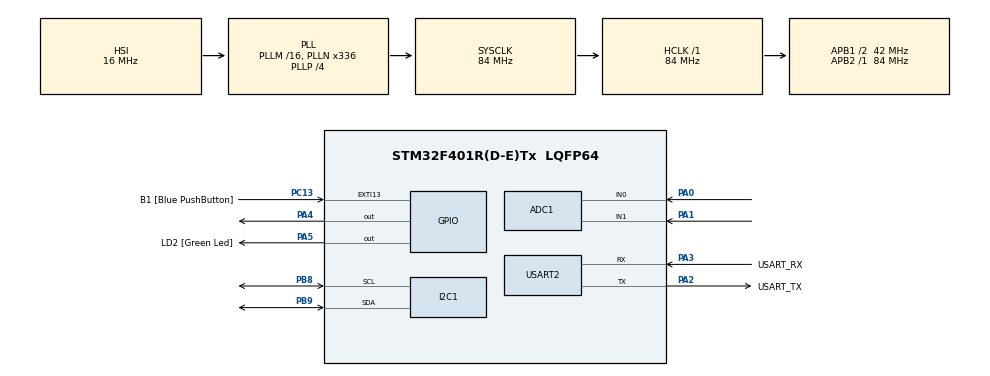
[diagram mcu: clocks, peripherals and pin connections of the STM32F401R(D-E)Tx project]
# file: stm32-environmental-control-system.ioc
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ADC1.Channel-0\#ChannelRegularConversion=ADC_CHANNEL_0
ADC1.NbrOfConversion=1
ADC1.NbrOfConversionFlag=1
ADC1.Rank-0\#ChannelRegularConversion=1
ADC1.SamplingTime-0\#ChannelRegularConversion=ADC_SAMPLETIME_3CYCLES
ADC1.ScanConvMode=DISABLE
ADC1.master=1
Mcu.Family=STM32F4
Mcu.Name=STM32F401R(D-E)Tx
Mcu.Package=LQFP64
NVIC.PriorityGroup=NVIC_PRIORITYGROUP_4
PA0-WKUP.Signal=ADCx_IN0
PA1.Signal=ADCx_IN1
PA13.GPIO_Label=TMS
PA13.Mode=Trace_Asynchronous_SW
PA13.Signal=SYS_JTMS-SWDIO
PA14.GPIO_Label=TCK
PA14.Mode=Trace_Asynchronous_SW
PA14.Signal=SYS_JTCK-SWCLK
PA2.GPIO_Label=USART_TX
PA2.GPIO_Mode=GPIO_MODE_AF_PP
PA2.GPIO_PuPd=GPIO_NOPULL
PA2.GPIO_Speed=GPIO_SPEED_FREQ_LOW
PA2.Mode=Asynchronous
PA2.Signal=USART2_TX
PA3.GPIO_Label=USART_RX
PA3.GPIO_Mode=GPIO_MODE_AF_PP
PA3.GPIO_PuPd=GPIO_NOPULL
PA3.GPIO_Speed=GPIO_SPEED_FREQ_LOW
PA3.Mode=Asynchronous
PA3.Signal=USART2_RX
PA4.Signal=GPIO_Output
PA5.GPIO_Label=LD2 [Green Led]
PA5.GPIO_Mode=GPIO_MODE_OUTPUT_PP
PA5.GPIO_PuPd=GPIO_NOPULL
PA5.GPIO_Speed=GPIO_SPEED_FREQ_LOW
PA5.Signal=GPIO_Output
PB3.GPIO_Label=SWO
PB3.Mode=Trace_Asynchronous_SW
PB3.Signal=SYS_JTDO-SWO
PB8.Mode=I2C
PB8.Signal=I2C1_SCL
PB9.Mode=I2C
PB9.Signal=I2C1_SDA
PC13-ANTI_TAMP.GPIO_Label=B1 [Blue PushButton]
PC13-ANTI_TAMP.GPIO_ModeDefaultEXTI=GPIO_MODE_IT_FALLING
PC13-ANTI_TAMP.GPIO_PuPd=GPIO_NOPULL
PC13-ANTI_TAMP.Signal=GPXTI13
PC14-OSC32_IN.Mode=LSE-External-Oscillator
PC14-OSC32_IN.Signal=RCC_OSC32_IN
PC15-OSC32_OUT.Mode=LSE-External-Oscillator
PC15-OSC32_OUT.Signal=RCC_OSC32_OUT
PH0\ -\ OSC_IN.Mode=HSE-External-Clock-Source
PH0\ -\ OSC_IN.Signal=RCC_OSC_IN
PH1\ -\ OSC_OUT.Mode=HSE-External-Clock-Source
PH1\ -\ OSC_OUT.Signal=RCC_OSC_OUT
ProjectManager.HeapSize=0x200
ProjectManager.StackSize=0x400
ProjectManager.TargetToolchain=STM32CubeIDE
RCC.48MHZClocksFreq_Value=48000000
RCC.AHBFreq_Value=84000000
RCC.APB1CLKDivider=RCC_HCLK_DIV2
RCC.APB1Freq_Value=42000000
RCC.APB1TimFreq_Value=84000000
RCC.APB2Freq_Value=84000000
RCC.APB2TimFreq_Value=84000000
RCC.CortexFreq_Value=84000000
RCC.HCLKFreq_Value=84000000
RCC.HSE_VALUE=8000000
RCC.HSI_VALUE=16000000
RCC.PLLN=336
RCC.PLLP=RCC_PLLP_DIV4
RCC.PLLQ=7
RCC.SYSCLKFreq_VALUE=84000000
RCC.SYSCLKSource=RCC_SYSCLKSOURCE_PLLCLK
RCC.VCOOutputFreq_Value=336000000
SH.ADCx_IN0.0=ADC1_IN0,IN0
SH.ADCx_IN1.0=ADC1_IN1,IN1
USART2.VirtualMode=VM_ASYNC
board=NUCLEO-F401RE

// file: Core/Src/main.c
/* USER CODE BEGIN Header */
/**
  ******************************************************************************
  * @file           : main.c
  * @brief          : Main program body
  ******************************************************************************
  * @attention
  *
  * Copyright (c) 2026 STMicroelectronics.
  * All rights reserved.
  *
  * This software is licensed under terms that can be found in the LICENSE file
  * in the root directory of this software component.
  * If no LICENSE file comes with this software, it is provided AS-IS.
  *
  ******************************************************************************
  */
/* USER CODE END Header */
#include "main.h"

/* USER CODE BEGIN Includes */
#include <stdio.h>
#include <string.h>
#include "ssd1306.h"
/* USER CODE END Includes */

ADC_HandleTypeDef hadc1;

I2C_HandleTypeDef hi2c1;

UART_HandleTypeDef huart2;

void SystemClock_Config(void);
static void MX_GPIO_Init(void);
static void MX_USART2_UART_Init(void);
static void MX_ADC1_Init(void);
static void MX_I2C1_Init(void);

int main(void)
{

  /* MCU Configuration--------------------------------------------------------*/

  /* Reset of all peripherals, Initializes the Flash interface and the Systick. */
  HAL_Init();

  /* Configure the system clock */
  SystemClock_Config();

  /* Initialize all configured peripherals */
  MX_GPIO_Init();
  MX_USART2_UART_Init();
  MX_ADC1_Init();
  MX_I2C1_Init();
  /* USER CODE BEGIN 2 */
  SSD1306_Init(&hi2c1);
  SSD1306_Clear();

  /* USER CODE END 2 */

  /* Infinite loop */
  /* USER CODE BEGIN WHILE */
  while (1)
  {
	  /* USER CODE BEGIN WHILE */
      uint32_t pot_raw;
      uint32_t temp_raw;
      uint32_t pot_sum = 0;
      uint32_t temp_sum = 0;

      float temp_voltage;
      float temperature_c;
      float setpoint_c;

      // rejects bad temp readings
      static float last_good_temp = 20.0f;
      float measured_temp;

      char msg[128];

      ADC_ChannelConfTypeDef sConfig = {0};
      /* =========================
         READ POTENTIOMETER - PA0
         ========================= */

      sConfig.Channel = ADC_CHANNEL_0;
      sConfig.Rank = 1;
      sConfig.SamplingTime = ADC_SAMPLETIME_84CYCLES;

      HAL_ADC_ConfigChannel(&hadc1, &sConfig);

      /* Throw away first conversion after switching channels */
      HAL_ADC_Start(&hadc1);
      HAL_ADC_PollForConversion(&hadc1, HAL_MAX_DELAY);
      HAL_ADC_GetValue(&hadc1);
      HAL_ADC_Stop(&hadc1);
      /* Average 8 real samples */
      pot_sum = 0;

      for (int i = 0; i < 8; i++)
      {
          HAL_ADC_Start(&hadc1);
          HAL_ADC_PollForConversion(&hadc1, HAL_MAX_DELAY);

          pot_sum += HAL_ADC_GetValue(&hadc1);

          HAL_ADC_Stop(&hadc1);
      }

      pot_raw = pot_sum / 8;

      /* Map potentiometer to 20 C - 60 C */
      setpoint_c =
          18.0f +
          ((float)pot_raw / 4095.0f) * 38.0f;

      /* =========================
         READ TMP36 - PA1
         ========================= */

      sConfig.Channel = ADC_CHANNEL_1;
      sConfig.Rank = 1;
      sConfig.SamplingTime = ADC_SAMPLETIME_84CYCLES;

      HAL_ADC_ConfigChannel(&hadc1, &sConfig);

      /* Throw away first conversion after switching channels */
      HAL_ADC_Start(&hadc1);
      HAL_ADC_PollForConversion(&hadc1, HAL_MAX_DELAY);
      HAL_ADC_GetValue(&hadc1);
      HAL_ADC_Stop(&hadc1);

      /* Average 16 temperature samples */
      temp_sum = 0;

      for (int i = 0; i < 16; i++)
      {
          HAL_ADC_Start(&hadc1);
          HAL_ADC_PollForConversion(&hadc1, HAL_MAX_DELAY);

          temp_sum += HAL_ADC_GetValue(&hadc1);

          HAL_ADC_Stop(&hadc1);
      }

      temp_raw = temp_sum / 16;

      /* =========================
         TEMPERATURE CALCULATION
         ========================= */

      temp_voltage =
          ((float)temp_raw / 4095.0f) * 3.3f;

      measured_temp =
          ((temp_voltage - 0.5f) / 0.01f) + 20.0f; //offset by 4 degrees

      /* Reject obviously bad readings */
      if (measured_temp >= 0.0f && measured_temp <= 60.0f)
      {
          last_good_temp = measured_temp;
      }

      temperature_c = last_good_temp;

      /* =========================
         FAN CONTROL
         ========================= */

		  if (temperature_c > setpoint_c)
		  {
			  HAL_GPIO_WritePin(
				  GPIOA,
				  GPIO_PIN_4,
				  GPIO_PIN_SET
			  );
		  }
		  else
		  {
			  HAL_GPIO_WritePin(
				  GPIOA,
				  GPIO_PIN_4,
				  GPIO_PIN_RESET
			  );
		  }

      /* =======================
       * OLED OUTPUT
       * =======================
       */

	  char temp_text[20];
	  char set_text[20];
	  char fan_text[20];

	  snprintf(temp_text, sizeof(temp_text),
			   "TEMP: %d C", (int)temperature_c);

	  snprintf(set_text, sizeof(set_text),
			   "SET: %d C", (int)setpoint_c);

	  snprintf(fan_text, sizeof(fan_text),
			   "FAN: %s",
			   (temperature_c > setpoint_c) ? "ON" : "OFF");

	  SSD1306_Clear();

	  SSD1306_WriteString(0, 4,  temp_text);
	  SSD1306_WriteString(0, 20, set_text);
	  SSD1306_WriteString(0, 36, fan_text);

	  SSD1306_UpdateScreen();

      HAL_UART_Transmit(
          &huart2,
          (uint8_t *)msg,
          strlen(msg),
          HAL_MAX_DELAY
      );

      /* =========================
         UART OUTPUT
         ========================= */

	  snprintf(
		  msg,
		  sizeof(msg),
		  "RAW: %lu | VOLT: %d mV | TEMP: %d C | SET: %d C | FAN: %s\r\n",
		  temp_raw,
		  (int)(temp_voltage * 1000.0f),
		  (int)temperature_c,
		  (int)setpoint_c,
		  (temperature_c > setpoint_c) ? "ON" : "OFF"
	  );

      HAL_Delay(500);

    /* USER CODE END WHILE */

  }
}

void SystemClock_Config(void)
{
  RCC_OscInitTypeDef RCC_OscInitStruct = {0};
  RCC_ClkInitTypeDef RCC_ClkInitStruct = {0};

  /** Configure the main internal regulator output voltage
  */
  __HAL_RCC_PWR_CLK_ENABLE();
  __HAL_PWR_VOLTAGESCALING_CONFIG(PWR_REGULATOR_VOLTAGE_SCALE2);

  /** Initializes the RCC Oscillators according to the specified parameters
  * in the RCC_OscInitTypeDef structure.
  */
  RCC_OscInitStruct.OscillatorType = RCC_OSCILLATORTYPE_HSI;
  RCC_OscInitStruct.HSIState = RCC_HSI_ON;
  RCC_OscInitStruct.HSICalibrationValue = RCC_HSICALIBRATION_DEFAULT;
  RCC_OscInitStruct.PLL.PLLState = RCC_PLL_ON;
  RCC_OscInitStruct.PLL.PLLSource = RCC_PLLSOURCE_HSI;
  RCC_OscInitStruct.PLL.PLLM = 16;
  RCC_OscInitStruct.PLL.PLLN = 336;
  RCC_OscInitStruct.PLL.PLLP = RCC_PLLP_DIV4;
  RCC_OscInitStruct.PLL.PLLQ = 7;
  if (HAL_RCC_OscConfig(&RCC_OscInitStruct) != HAL_OK)
  {
    Error_Handler();
  }

  /** Initializes the CPU, AHB and APB buses clocks
  */
  RCC_ClkInitStruct.ClockType = RCC_CLOCKTYPE_HCLK|RCC_CLOCKTYPE_SYSCLK
                              |RCC_CLOCKTYPE_PCLK1|RCC_CLOCKTYPE_PCLK2;
  RCC_ClkInitStruct.SYSCLKSource = RCC_SYSCLKSOURCE_PLLCLK;
  RCC_ClkInitStruct.AHBCLKDivider = RCC_SYSCLK_DIV1;
  RCC_ClkInitStruct.APB1CLKDivider = RCC_HCLK_DIV2;
  RCC_ClkInitStruct.APB2CLKDivider = RCC_HCLK_DIV1;

  if (HAL_RCC_ClockConfig(&RCC_ClkInitStruct, FLASH_LATENCY_2) != HAL_OK)
  {
    Error_Handler();
  }
}

static void MX_ADC1_Init(void)
{

  ADC_ChannelConfTypeDef sConfig = {0};

  /** Configure the global features of the ADC (Clock, Resolution, Data Alignment and number of conversion)
  */
  hadc1.Instance = ADC1;
  hadc1.Init.ClockPrescaler = ADC_CLOCK_SYNC_PCLK_DIV4;
  hadc1.Init.Resolution = ADC_RESOLUTION_12B;
  hadc1.Init.ScanConvMode = DISABLE;
  hadc1.Init.ContinuousConvMode = DISABLE;
  hadc1.Init.DiscontinuousConvMode = DISABLE;
  hadc1.Init.ExternalTrigConvEdge = ADC_EXTERNALTRIGCONVEDGE_NONE;
  hadc1.Init.ExternalTrigConv = ADC_SOFTWARE_START;
  hadc1.Init.DataAlign = ADC_DATAALIGN_RIGHT;
  hadc1.Init.NbrOfConversion = 1;
  hadc1.Init.DMAContinuousRequests = DISABLE;
  hadc1.Init.EOCSelection = ADC_EOC_SINGLE_CONV;
  if (HAL_ADC_Init(&hadc1) != HAL_OK)
  {
    Error_Handler();
  }

  /** Configure for the selected ADC regular channel its corresponding rank in the sequencer and its sample time.
  */
  sConfig.Channel = ADC_CHANNEL_0;
  sConfig.Rank = 1;
  sConfig.SamplingTime = ADC_SAMPLETIME_3CYCLES;
  if (HAL_ADC_ConfigChannel(&hadc1, &sConfig) != HAL_OK)
  {
    Error_Handler();
  }

}

static void MX_I2C1_Init(void)
{

  hi2c1.Instance = I2C1;
  hi2c1.Init.ClockSpeed = 100000;
  hi2c1.Init.DutyCycle = I2C_DUTYCYCLE_2;
  hi2c1.Init.OwnAddress1 = 0;
  hi2c1.Init.AddressingMode = I2C_ADDRESSINGMODE_7BIT;
  hi2c1.Init.DualAddressMode = I2C_DUALADDRESS_DISABLE;
  hi2c1.Init.OwnAddress2 = 0;
  hi2c1.Init.GeneralCallMode = I2C_GENERALCALL_DISABLE;
  hi2c1.Init.NoStretchMode = I2C_NOSTRETCH_DISABLE;
  if (HAL_I2C_Init(&hi2c1) != HAL_OK)
  {
    Error_Handler();
  }

}

static void MX_USART2_UART_Init(void)
{

  huart2.Instance = USART2;
  huart2.Init.BaudRate = 115200;
  huart2.Init.WordLength = UART_WORDLENGTH_8B;
  huart2.Init.StopBits = UART_STOPBITS_1;
  huart2.Init.Parity = UART_PARITY_NONE;
  huart2.Init.Mode = UART_MODE_TX_RX;
  huart2.Init.HwFlowCtl = UART_HWCONTROL_NONE;
  huart2.Init.OverSampling = UART_OVERSAMPLING_16;
  if (HAL_UART_Init(&huart2) != HAL_OK)
  {
    Error_Handler();
  }

}

static void MX_GPIO_Init(void)
{
  GPIO_InitTypeDef GPIO_InitStruct = {0};

  /* GPIO Ports Clock Enable */
  __HAL_RCC_GPIOC_CLK_ENABLE();
  __HAL_RCC_GPIOH_CLK_ENABLE();
  __HAL_RCC_GPIOA_CLK_ENABLE();
  __HAL_RCC_GPIOB_CLK_ENABLE();

  /*Configure GPIO pin Output Level */
  HAL_GPIO_WritePin(GPIOA, GPIO_PIN_4|LD2_Pin, GPIO_PIN_RESET);

  /*Configure GPIO pin : B1_Pin */
  GPIO_InitStruct.Pin = B1_Pin;
  GPIO_InitStruct.Mode = GPIO_MODE_IT_FALLING;
  GPIO_InitStruct.Pull = GPIO_NOPULL;
  HAL_GPIO_Init(B1_GPIO_Port, &GPIO_InitStruct);

  /*Configure GPIO pins : PA4 LD2_Pin */
  GPIO_InitStruct.Pin = GPIO_PIN_4|LD2_Pin;
  GPIO_InitStruct.Mode = GPIO_MODE_OUTPUT_PP;
  GPIO_InitStruct.Pull = GPIO_NOPULL;
  GPIO_InitStruct.Speed = GPIO_SPEED_FREQ_LOW;
  HAL_GPIO_Init(GPIOA, &GPIO_InitStruct);

}

void Error_Handler(void)
{
  __disable_irq();
  while (1)
  {
  }
}
